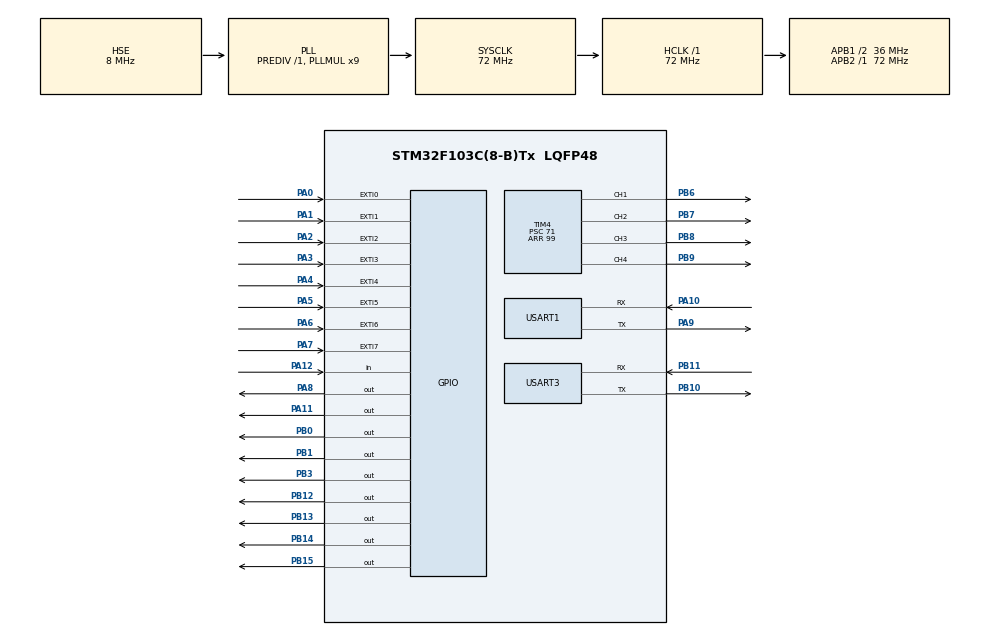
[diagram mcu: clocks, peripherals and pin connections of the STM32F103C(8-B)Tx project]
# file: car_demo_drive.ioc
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Mcu.Family=STM32F1
Mcu.Name=STM32F103C(8-B)Tx
Mcu.Package=LQFP48
NVIC.PriorityGroup=NVIC_PRIORITYGROUP_4
NVIC.TIM3_IRQn=true\:0\:0\:false\:false\:true\:true\:true
NVIC.USART1_IRQn=true\:0\:0\:false\:false\:true\:true\:true
NVIC.USART3_IRQn=true\:0\:0\:false\:false\:true\:true\:true
PA0-WKUP.Signal=GPXTI0
PA1.Signal=GPXTI1
PA10.Mode=Asynchronous
PA10.Signal=USART1_RX
PA11.Signal=GPIO_Output
PA12.Signal=GPIO_Input
PA13.Mode=Serial_Wire
PA13.Signal=SYS_JTMS-SWDIO
PA14.Mode=Serial_Wire
PA14.Signal=SYS_JTCK-SWCLK
PA2.Signal=GPXTI2
PA3.Signal=GPXTI3
PA4.Signal=GPXTI4
PA5.Signal=GPXTI5
PA6.Signal=GPXTI6
PA7.Signal=GPXTI7
PA8.Signal=GPIO_Output
PA9.Mode=Asynchronous
PA9.Signal=USART1_TX
PB0.Signal=GPIO_Output
PB1.Signal=GPIO_Output
PB10.Mode=Asynchronous
PB10.Signal=USART3_TX
PB11.Mode=Asynchronous
PB11.Signal=USART3_RX
PB12.Signal=GPIO_Output
PB13.Signal=GPIO_Output
PB14.Signal=GPIO_Output
PB15.Signal=GPIO_Output
PB3.Signal=GPIO_Output
PB6.Signal=S_TIM4_CH1
PB7.Signal=S_TIM4_CH2
PB8.Signal=S_TIM4_CH3
PB9.Signal=S_TIM4_CH4
PD0-OSC_IN.Mode=HSE-External-Oscillator
PD0-OSC_IN.Signal=RCC_OSC_IN
PD1-OSC_OUT.Mode=HSE-External-Oscillator
PD1-OSC_OUT.Signal=RCC_OSC_OUT
ProjectManager.HeapSize=0x200
ProjectManager.StackSize=0x400
ProjectManager.TargetToolchain=MDK-ARM V5
RCC.AHBFreq_Value=72000000
RCC.APB1CLKDivider=RCC_HCLK_DIV2
RCC.APB1Freq_Value=36000000
RCC.APB1TimFreq_Value=72000000
RCC.APB2Freq_Value=72000000
RCC.APB2TimFreq_Value=72000000
RCC.HCLKFreq_Value=72000000
RCC.PLLMUL=RCC_PLL_MUL9
RCC.PLLSourceVirtual=RCC_PLLSOURCE_HSE
RCC.SYSCLKFreq_VALUE=72000000
RCC.SYSCLKSource=RCC_SYSCLKSOURCE_PLLCLK
RCC.USBFreq_Value=72000000
SH.S_TIM4_CH1.0=TIM4_CH1,PWM Generation1 CH1
SH.S_TIM4_CH2.0=TIM4_CH2,PWM Generation2 CH2
SH.S_TIM4_CH3.0=TIM4_CH3,PWM Generation3 CH3
SH.S_TIM4_CH4.0=TIM4_CH4,PWM Generation4 CH4
TIM3.Period=999
TIM3.Prescaler=719
TIM4.Channel-PWM\ Generation1\ CH1=TIM_CHANNEL_1
TIM4.Channel-PWM\ Generation2\ CH2=TIM_CHANNEL_2
TIM4.Channel-PWM\ Generation3\ CH3=TIM_CHANNEL_3
TIM4.Channel-PWM\ Generation4\ CH4=TIM_CHANNEL_4
TIM4.Period=99
TIM4.Prescaler=71
USART1.VirtualMode=VM_ASYNC
USART3.VirtualMode=VM_ASYNC
VP_TIM3_VS_ClockSourceINT.Mode=Internal
VP_TIM4_VS_ClockSourceINT.Mode=Internal
board=custom

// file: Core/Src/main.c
/* USER CODE BEGIN Header */
/**
  ******************************************************************************
  * @file           : main.c
  * @brief          : Main program body
  ******************************************************************************
  * @attention
  *
  * <h2><center>&copy; Copyright (c) 2024 STMicroelectronics.
  * All rights reserved.</center></h2>
  *
  * This software component is licensed by ST under BSD 3-Clause license,
  * the "License"; You may not use this file except in compliance with the
  * License. You may obtain a copy of the License at:
  *                        opensource.org/licenses/BSD-3-Clause
  *
  ******************************************************************************
  */
/* USER CODE END Header */
#include "main.h"
#include "tim.h"
#include "usart.h"
#include "gpio.h"
#include "data_transmit.h"
#include "PID.h"
#include "motor.h"

void SystemClock_Config(void);

/* USER CODE BEGIN 0 */
void Motor_Control(void);
//外部中断变量
int32_t encoder_count[4]={0};
int8_t encoder_direction[4]={0};

//外部中断回调函数
void HAL_GPIO_EXTI_Callback(uint16_t GPIO_Pin)
{
	if(GPIO_Pin==GPIO_PIN_0)
	{	encoder_direction[0] = (HAL_GPIO_ReadPin(GPIOA, GPIO_PIN_1) == GPIO_PIN_RESET) ? 1 : -1;
        encoder_count[0] = encoder_count[0]+encoder_direction[0];
	}

     if(GPIO_Pin==GPIO_PIN_2)
	{
		encoder_direction[1] = (HAL_GPIO_ReadPin(GPIOA, GPIO_PIN_3) == GPIO_PIN_RESET) ? 1 : -1;
		encoder_count[1] = encoder_count[1]+encoder_direction[1];

	}
        if(GPIO_Pin==GPIO_PIN_4)
	{	encoder_direction[2] = (HAL_GPIO_ReadPin(GPIOA, GPIO_PIN_5) == GPIO_PIN_RESET) ? 1 : -1;
        encoder_count[2] = encoder_count[2]+encoder_direction[2];
	}

     if(GPIO_Pin==GPIO_PIN_6)
	{
		encoder_direction[3] = (HAL_GPIO_ReadPin(GPIOA, GPIO_PIN_7) == GPIO_PIN_RESET) ? 1 : -1;
		encoder_count[3] = encoder_count[3]+encoder_direction[3];

	}
}

//定时器变量
int32_t actual_value[4]={0};

//定时器中断回调函数
void HAL_TIM_PeriodElapsedCallback(TIM_HandleTypeDef* htim)
{

	if(htim->Instance == TIM3)
	{
		 // 获取编码器的计数倿
    for (int i = 0; i < 4; i++) {
        actual_value[i] = encoder_count[i];
        encoder_count[i] = 0; // 清除计数
		//encoder_value可以代替位移，这个tim定时器中断是时间
		=
		Motor_Control();
    }
	}

}

//UART变量

uint8_t rx_buffer[5];
uint8_t rx_ros_buffer[4];
uint8_t line;
uint8_t yaw;
 //UART代码
	void HAL_UART_RxCpltCallback(UART_HandleTypeDef *huart)
	{	if (huart->Instance == USART3)
		{
		if (rx_buffer[0] == 0xA5 && rx_buffer[4] == 0x5A) {
				// 提取数据
				control_data.button_status = rx_buffer[1];
				control_data.joystick_x = rx_buffer[2];
				control_data.joystick_y = rx_buffer[3];

				// 更新PID目标值
				Update_PID_Target(control_data);
			//HAL_UART_Receive_DMA(&huart3,rx_buffer, 5);
        }
	HAL_UART_Receive_IT(&huart3,rx_buffer,5);
	}

	if (huart->Instance == USART1)
	{
		if(rx_ros_buffer[0]==0xA5&&rx_ros_buffer[3]==0x0D)
	{
		line=rx_ros_buffer[1];
		yaw=rx_ros_buffer[2];
	}
	}
HAL_UART_Receive_IT(&huart3,rx_ros_buffer,4);
}

//控制核心变量
int16_t speed[4];
	void Motor_Control() {
   // 根据 PID 控制算法调整电机速度
    for (int i = 0; i < 4; i++)
	{
        speed[i] = PID_Compute(&motor_pid[i], target_value[i], actual_value[i]);
    }
	Motor_SetSpeed(&htim4, TIM_CHANNEL_1 , speed[0], GPIOB, GPIO_PIN_0,GPIOB, GPIO_PIN_12 );
	Motor_SetSpeed(&htim4, TIM_CHANNEL_2, speed[1], GPIOB, GPIO_PIN_1,GPIOB, GPIO_PIN_13);
	Motor_SetSpeed(&htim4, TIM_CHANNEL_3 , speed[2], GPIOA, GPIO_PIN_8,GPIOB, GPIO_PIN_14);
	Motor_SetSpeed(&htim4, TIM_CHANNEL_4, speed[3], GPIOB, GPIO_PIN_3,GPIOB, GPIO_PIN_15);
}

/* USER CODE END 0 */

int main(void)
{

  /* MCU Configuration--------------------------------------------------------*/

  /* Reset of all peripherals, Initializes the Flash interface and the Systick. */
  HAL_Init();

  /* Configure the system clock */
  SystemClock_Config();

  /* Initialize all configured peripherals */
  MX_GPIO_Init();
  MX_TIM3_Init();
  MX_TIM4_Init();
  MX_USART1_UART_Init();
  MX_USART3_UART_Init();
  HAL_TIM_Base_Start_IT(&htim3);
  HAL_TIM_Base_Start(&htim4);
  HAL_TIM_PWM_Start(&htim4, TIM_CHANNEL_1);
    HAL_TIM_PWM_Start(&htim4, TIM_CHANNEL_2);
    HAL_TIM_PWM_Start(&htim4, TIM_CHANNEL_3);
    HAL_TIM_PWM_Start(&htim4, TIM_CHANNEL_4);
	HAL_UART_Receive_IT(&huart3,rx_buffer,5);
	HAL_UART_Receive_IT(&huart1,rx_ros_buffer,4);

  /* Infinite loop */
  while (1)
  {

  }
}

void SystemClock_Config(void)
{
  RCC_OscInitTypeDef RCC_OscInitStruct = {0};
  RCC_ClkInitTypeDef RCC_ClkInitStruct = {0};

  /** Initializes the RCC Oscillators according to the specified parameters
  * in the RCC_OscInitTypeDef structure.
  */
  RCC_OscInitStruct.OscillatorType = RCC_OSCILLATORTYPE_HSE;
  RCC_OscInitStruct.HSEState = RCC_HSE_ON;
  RCC_OscInitStruct.HSEPredivValue = RCC_HSE_PREDIV_DIV1;
  RCC_OscInitStruct.HSIState = RCC_HSI_ON;
  RCC_OscInitStruct.PLL.PLLState = RCC_PLL_ON;
  RCC_OscInitStruct.PLL.PLLSource = RCC_PLLSOURCE_HSE;
  RCC_OscInitStruct.PLL.PLLMUL = RCC_PLL_MUL9;
  if (HAL_RCC_OscConfig(&RCC_OscInitStruct) != HAL_OK)
  {
    Error_Handler();
  }
  /** Initializes the CPU, AHB and APB buses clocks
  */
  RCC_ClkInitStruct.ClockType = RCC_CLOCKTYPE_HCLK|RCC_CLOCKTYPE_SYSCLK
                              |RCC_CLOCKTYPE_PCLK1|RCC_CLOCKTYPE_PCLK2;
  RCC_ClkInitStruct.SYSCLKSource = RCC_SYSCLKSOURCE_PLLCLK;
  RCC_ClkInitStruct.AHBCLKDivider = RCC_SYSCLK_DIV1;
  RCC_ClkInitStruct.APB1CLKDivider = RCC_HCLK_DIV2;
  RCC_ClkInitStruct.APB2CLKDivider = RCC_HCLK_DIV1;

  if (HAL_RCC_ClockConfig(&RCC_ClkInitStruct, FLASH_LATENCY_2) != HAL_OK)
  {
    Error_Handler();
  }
}

void Error_Handler(void)
{
  __disable_irq();
  while (1)
  {
  }
}

/************************ (C) COPYRIGHT STMicroelectronics *****END OF FILE****/
